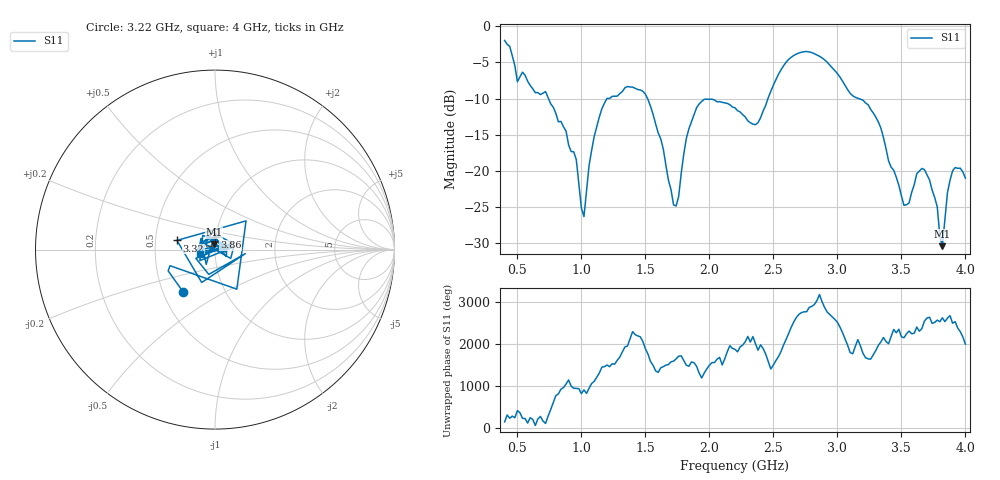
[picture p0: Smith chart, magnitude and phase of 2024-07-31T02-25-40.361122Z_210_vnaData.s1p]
!Created with skrf (http://scikit-rf.org).
# Hz S RI R 50.0
!freq ReS11 ImS11
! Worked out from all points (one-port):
!   181 points, 400 MHz to 4 GHz, reference 50 ohm
!   lowest |S11| = -30.4 dB at 3.82 GHz (marker M1), VSWR 1.06, Z = 49.4 + j2.95 ohm
!   |S11| at or under -10 dB: 743.3 MHz to 1.199 GHz (455.7 MHz wide, 46.9 % of centre); 1.517 GHz to 2.457 GHz (940.6 MHz wide, 47.3 % of centre); 3.168 GHz to end of sweep
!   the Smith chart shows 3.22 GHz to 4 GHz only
!   S11 on the Smith chart (normalised r, x): 3.22 GHz: 0.63, -0.33; 3.32 GHz: 0.65, +0.07; 3.86 GHz: 0.99, +0.14; 4 GHz: 0.84, -0.04
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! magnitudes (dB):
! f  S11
! 400 MHz  -2.0
! 500 MHz  -7.7
! 720 MHz  -9.0
! 860 MHz  -13.9
! 960 MHz  -18.4
! 1.02 GHz  -26.3
! 1.06 GHz  -19.2
! 1.14 GHz  -12.5
! 1.3 GHz  -9.3
! 1.5 GHz  -9.4
! 1.72 GHz  -24.7
! 1.76 GHz  -23.5
! 1.82 GHz  -15.5
! 1.9 GHz  -11.3
! 2.2 GHz  -11.3
! 2.38 GHz  -13.3
! 2.66 GHz  -4.0
! 2.88 GHz  -4.4
! 3.1 GHz  -9.3
! 3.22 GHz  -10.6
! 3.32 GHz  -13.2
! 3.56 GHz  -24.4
! 3.68 GHz  -19.8
! 3.78 GHz  -24.9
! 3.82 GHz  -30.4
! 3.86 GHz  -23.0
! 3.92 GHz  -19.5
! 4 GHz  -21.0
